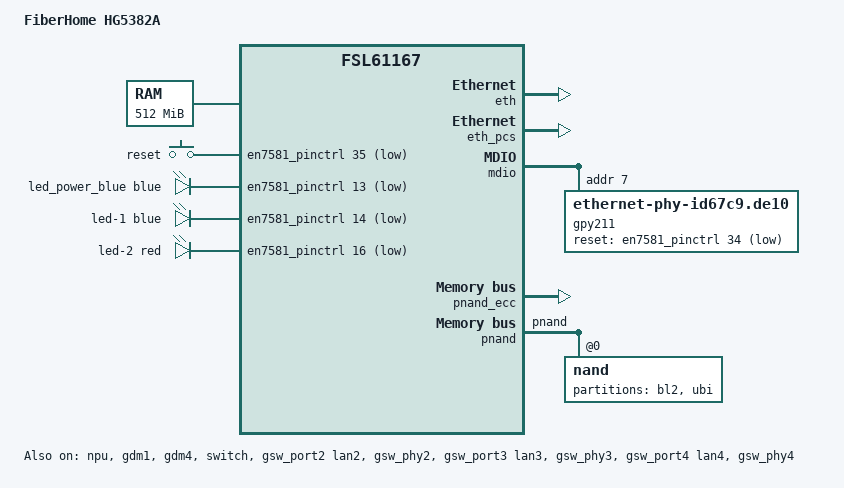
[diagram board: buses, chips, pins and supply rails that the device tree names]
// SPDX-License-Identifier: GPL-2.0-only OR MIT

/dts-v1/;
#include <dt-bindings/gpio/gpio.h>
#include <dt-bindings/input/input.h>
#include <dt-bindings/leds/common.h>
#include "fsl61167.dtsi"

/ {
	model = "FiberHome HG5382A";
	compatible = "fiberhome,hg5382a", "airoha,an7581",
		     "airoha,en7581", "freesil,fsl61167";

	aliases {
		label-mac-device = &gdm1;

		led-boot = &led_power_blue;
		led-failsafe = &led_power_blue;
		led-running = &led_power_blue;
		led-upgrade = &led_power_blue;

		serial0 = &uart1;
	};

	chosen {
		bootargs = "console=ttyS0,115200 earlycon";
		stdout-path = "serial0:115200n8";
		linux,usable-memory-range =
			<0x0 0x80200000 0x0 0x1fe00000>;
		rootdisk = <&ubi_fit>;
	};

	memory@80000000 {
		device_type = "memory";
		reg = <0x0 0x80000000 0x0 0x20000000>;
	};

	keys {
		compatible = "gpio-keys";

		button-0 {
			label = "reset";
			linux,code = <KEY_RESTART>;
			gpios = <&en7581_pinctrl 35 GPIO_ACTIVE_LOW>;
			debounce-interval = <60>;
		};
	};

	leds {
		compatible = "gpio-leds";

		led_power_blue: led-0 {
			color = <LED_COLOR_ID_BLUE>;
			function = LED_FUNCTION_POWER;
			gpios = <&en7581_pinctrl 13 GPIO_ACTIVE_LOW>;
		};

		led-1 {
			color = <LED_COLOR_ID_BLUE>;
			function = LED_FUNCTION_WAN;
			gpios = <&en7581_pinctrl 14 GPIO_ACTIVE_LOW>;
		};

		led-2 {
			color = <LED_COLOR_ID_RED>;
			function = LED_FUNCTION_WAN;
			gpios = <&en7581_pinctrl 16 GPIO_ACTIVE_LOW>;
		};
	};
};

&en7581_pinctrl {
	gpio-ranges = <&en7581_pinctrl 0 13 50>;

	mdio_pins: mdio-pins {
		mux {
			function = "mdio";
			groups = "mdio";
		};
	};

	pnand_pins: pnand-pins {
		mux {
			function = "pnand";
			groups = "pnand";
		};
	};
};

&npu {
	status = "okay";
};

&eth {
	status = "okay";
};

&eth_pcs {
	status = "okay";
};

&gdm1 {
	nvmem-cells = <&fiberhome_base_mac (1)>;
	nvmem-cell-names = "mac-address";
	status = "okay";
};

&gdm4 {
	status = "okay";
	phy-handle = <&gpy211>;
	phy-mode = "2500base-x";
	openwrt,netdev-name = "lan1";

	nvmem-cells = <&fiberhome_base_mac (1)>;
	nvmem-cell-names = "mac-address";
};

&mdio {
	gpy211: ethernet-phy@7 {
		compatible = "ethernet-phy-id67c9.de10";
		reg = <7>;
		reset-assert-us = <100000>;
		reset-deassert-us = <100000>;
		reset-gpios = <&en7581_pinctrl 34 GPIO_ACTIVE_LOW>;
	};
};

&pnand_ecc {
	status = "okay";
};

&pnand {
	pinctrl-names = "default";
	pinctrl-0 = <&pnand_pins>;
	status = "okay";

	nand@0 {
		reg = <0>;

		nand-bus-width = <8>;

		nand-ecc-mode = "hw";
		nand-ecc-strength = <8>;
		nand-ecc-step-size = <512>;

		partitions: partitions {
			compatible = "fixed-partitions";
			#address-cells = <1>;
			#size-cells = <1>;

			partition@0 {
				label = "bl2";
				reg = <0x0 0x20000>;
				read-only;
			};

			partition@20000 {
				label = "ubi";
				reg = <0x20000 0x0>;
				compatible = "linux,ubi";

				volumes {
					ubi_fip: ubi-volume-fip {
						volname = "fip";
					};

					ubi_env: ubi-volume-ubootenv {
						volname = "ubootenv";
					};

					ubi_env2: ubi-volume-ubootenv2 {
						volname = "ubootenv2";
					};

					ubi_factory: ubi-volume-factory {
						volname = "factory";
					};

					ubi_fit: ubi-volume-fit {
						volname = "fit";
					};
				};
			};
		};
	};
};

&ubi_env {
	nvmem-layout {
		compatible = "u-boot,env-redundant-bool-layout";
	};
};

&ubi_env2 {
	nvmem-layout {
		compatible = "u-boot,env-redundant-bool-layout";
	};
};

&ubi_factory {
	nvmem-layout {
		compatible = "fixed-layout";
		#address-cells = <1>;
		#size-cells = <1>;

		pon_calibration: calibration@0 {
			reg = <0x0 0x800>;
		};

		wifi_eeprom: eeprom@1000 {
			reg = <0x1000 0x1000>;
		};

		fiberhome_base_mac: mac-address@2000 {
			compatible = "mac-base";
			reg = <0x2000 0x6>;
		};

		fiberhome_pon_serial: pon-serial@2010 {
			reg = <0x2010 0x8>;
		};

		fiberhome_device_serial: device-serial@2020 {
			reg = <0x2020 0x20>;
		};
	};
};

&switch {
	pinctrl-names = "default";
	pinctrl-0 = <&mdio_pins>;
	status = "okay";
};

&gsw_port2 {
	label = "lan2";
	status = "okay";
};

&gsw_phy2 {
	status = "okay";
};

&gsw_port3 {
	label = "lan3";
	status = "okay";
};

&gsw_phy3 {
	status = "okay";
};

&gsw_port4 {
	label = "lan4";
	status = "okay";
};

&gsw_phy4 {
	status = "okay";
};
